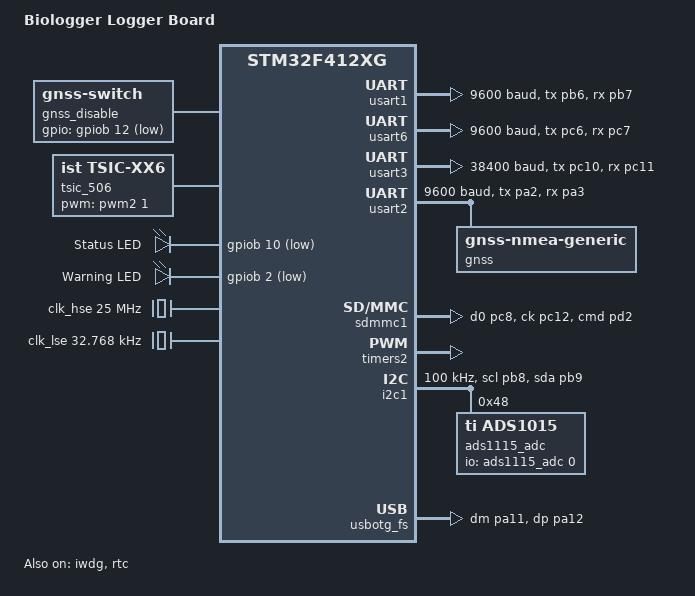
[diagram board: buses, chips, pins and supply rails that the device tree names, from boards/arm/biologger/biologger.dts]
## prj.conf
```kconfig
CONFIG_ADC=y
CONFIG_ADC_ADS1X1X=y
CONFIG_CLOCK_CONTROL=y
CONFIG_DISK_ACCESS=y
CONFIG_DISK_DRIVER_SDMMC=y
CONFIG_DYNAMIC_THREAD=y
CONFIG_FAT_FILESYSTEM_ELM=y
CONFIG_FILE_SYSTEM=y
CONFIG_FPU=y
CONFIG_FS_FATFS_LFN=y
CONFIG_GNSS=y
CONFIG_GNSS_NMEA_GENERIC=y
CONFIG_GPIO=y
CONFIG_HEAP_MEM_POOL_SIZE=65536
CONFIG_HW_STACK_PROTECTION=y
CONFIG_I2C=y
CONFIG_LOG=y
CONFIG_MAIN_STACK_SIZE=16384
CONFIG_NEWLIB_LIBC=y
CONFIG_NEWLIB_LIBC_FLOAT_PRINTF=y
CONFIG_PRINTK=y
CONFIG_PWM=y
CONFIG_PWM_CAPTURE=y
CONFIG_RTC=y
CONFIG_SDMMC_STACK=y
CONFIG_SDMMC_STM32_CLOCK_CHECK=n
CONFIG_SENSOR=y
CONFIG_SERIAL=y
CONFIG_STACK_CANARIES=y
CONFIG_SYS_HEAP_INFO=y
CONFIG_SYS_HEAP_RUNTIME_STATS=y
CONFIG_TSIC_XX6=y
CONFIG_UART_INTERRUPT_DRIVEN=y

#USB related configs
CONFIG_USB_DEVICE_STACK=y
CONFIG_USB_DEVICE_PRODUCT="Zephyr MSC sample"
CONFIG_USB_DEVICE_PID=0x0008
CONFIG_USB_DRIVER_LOG_LEVEL_ERR=y
CONFIG_USB_MASS_STORAGE=y
CONFIG_USB_DEVICE_LOG_LEVEL_ERR=y
CONFIG_USB_MASS_STORAGE_LOG_LEVEL_ERR=y
CONFIG_USB_DEVICE_INITIALIZE_AT_BOOT=n
CONFIG_USBD_MSC_CLASS=y
CONFIG_USBD_MSC_LUNS_PER_INSTANCE=3
CONFIG_MASS_STORAGE_DISK_NAME="SD"

# Modules
CONFIG_XIMPEDANCE_AMP=y

# Debugging Flags
CONFIG_DEBUG=y
CONFIG_FILE_SYSTEM_SHELL=y
CONFIG_RTC_SHELL=y
CONFIG_SHELL=y
CONFIG_THREAD_ANALYZER=y
```

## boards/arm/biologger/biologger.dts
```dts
/*
 * Copyright (c) 2024 Marko Vejnovic
 *
 * SPDX-License-Identifier: Apache-2.0
 */

/dts-v1/;
#include <st/f4/stm32f412Xg.dtsi>
#include <st/f4/stm32f412r(e-g)tx-pinctrl.dtsi>

/ {
    model = "Biologger Logger Board";
    compatible = "markovejnovic,biologger";

	chosen {
		zephyr,console = &usart3;
		zephyr,shell-uart = &usart3;
		zephyr,sram = &sram0;
		zephyr,flash = &flash0;
	};

    gnss_disable: gnss_disable {
        compatible = "gnss-switch";
        gpios = <&gpiob 12 GPIO_ACTIVE_LOW>;
        status = "okay";
    };

    tsic_506: tsic_506 {
        status = "okay";
        compatible = "ist,tsic-xx6";
        pwms = <&pwm2 1 PWM_USEC(5) PWM_POLARITY_NORMAL>;
        data-bits = <11>;
        lower-temperature-limit = <(-10)>;
        higher-temperature-limit = <60>;
    };

    leds: leds {
        compatible = "gpio-leds";

        status_led: led_0 {
            gpios = <&gpiob 10 GPIO_ACTIVE_LOW>;
            label = "Status LED";
            status = "okay";
        };

        warning_led: led_1 {
            gpios = <&gpiob 2 GPIO_ACTIVE_LOW>;
            label = "Warning LED";
            status = "okay";
        };
    };

    ximpedance_amp: ximpedance_amp {
        compatible = "ximpedance_amp";
        status = "okay";
        adc = <&ads1115_adc>;
    };

    aliases {
        board-usart-1 = &usart1;
        board-usart-2 = &usart6;
        board-usart-3 = &usart3;
        trutime-clock = &rtc;
    };
};

&clk_hse {
	/delete-property/ hse-bypass;
	clock-frequency = <DT_FREQ_M(25)>; // External 25MHz clock.
	status = "okay";
};

&clk_lse {
    /delete-property/ lse-bypass;
    clock-frequency = <32768>; // External 32.768kHz clock.
    status = "okay";
};

&pll {
	div-m = <25>;
	mul-n = <384>;
    // TODO(markovejnovic): This could, in theory be bumped up to 4 to help
    // boost the APB2 clock domain, but causes the SDMMC clock to be unusable.
    // That cock should be moved to the PLL48CLK domain.
	div-p = <8>;
	div-q = <8>;
	clocks = <&clk_hse>;
	status = "okay";
};

&rcc {
	clocks = <&clk_hse>;
    // Under no circumustance can you change SYSCLK to be anything greater than
    // 25MHz. As it stands, the SDIO lines are very poorly designed and cannot
    // withstand this high frequency. Even 25MHz is too much and I don't know
    // how to fix it.
	clock-frequency = <DT_FREQ_M(25)>;
	ahb-prescaler = <1>;
	apb1-prescaler = <2>;
    // Note that the APB2 clock domain should NOT be very high. The board
    // layout is not good enough to support 50MHz on the SDIO lines.
	apb2-prescaler = <8>;
};

&iwdg {
    status = "okay";
};

&usart1 {
	pinctrl-0 = <&usart1_tx_pb6 &usart1_rx_pb7>;
	pinctrl-names = "default";
	current-speed = <9600>;
	status = "okay";
};

&usart6 {
	pinctrl-0 = <&usart6_tx_pc6 &usart6_rx_pc7>;
	pinctrl-names = "default";
	current-speed = <9600>;
	status = "okay";
};

&usart3 {
	pinctrl-0 = <&usart3_tx_pc10 &usart3_rx_pc11>;
	pinctrl-names = "default";
	current-speed = <38400>;
	status = "okay";
};

&usart2 {
	pinctrl-0 = <&usart2_tx_pa2 &usart2_rx_pa3>;
	pinctrl-names = "default";
	current-speed = <9600>;
	status = "okay";

    gnss: gnss-nmea-generic {
        compatible = "gnss-nmea-generic";
    };
};

&sdmmc1 {
    pinctrl-0 = <&sdio_d0_pc8 &sdio_ck_pc12 &sdio_cmd_pd2>;
    pinctrl-names = "default";
    disk-name = "SD";
    clk-div = <8>;
    status = "okay";
};

&rtc {
	clocks = <&rcc STM32_CLOCK_BUS_APB1 0x10000000>,
		 <&rcc STM32_SRC_LSE RTC_SEL(1)>;
	status = "okay";
};

&timers2 {
	status = "okay";

	pwm2: pwm {
		status = "okay";
		pinctrl-0 = <&tim2_ch1_pa0>;
		pinctrl-names = "default";
	};
};

&i2c1 {
	pinctrl-0 = <&i2c1_scl_pb8 &i2c1_sda_pb9>;
	pinctrl-names = "default";
	status = "okay";
	clock-frequency = <I2C_BITRATE_STANDARD>;

    ads1115_adc: ads1115_adc@48 {
        status = "okay";
        compatible = "ti,ads1015";
		reg = <0x48>;
		#io-channel-cells = <1>;
		#address-cells = <1>;
		#size-cells = <0>;

        io-channels = <&ads1115_adc 0>;
        io-channel-names = "A0";

		channel@0 {
			reg = <0>;
			zephyr,gain = "ADC_GAIN_1";
			zephyr,reference = "ADC_REF_INTERNAL";
			zephyr,acquisition-time = <ADC_ACQ_TIME_DEFAULT>;
            zephyr,resolution = <11>;
		};
    };
};

zephyr_udc0: &usbotg_fs {
	pinctrl-0 = <&usb_otg_fs_dm_pa11 &usb_otg_fs_dp_pa12>;
	pinctrl-names = "default";
	status = "okay";
};
```

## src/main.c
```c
/*
 * Copyright (c) 2024 Marko Vejnovic
 *
 * SPDX-License-Identifier: Apache-2.0
 *
 * @detail
 * Hello! This module is the main entrypoint of the biologger firmware. It is
 * in this file that you should most likely attempt to perform your work. If
 * you are only attempting to add new columns/rows, please have a look at
 * declare_columns and collect_data_10hz.
 */
#include <sys/_timespec.h>
#include <zephyr/kernel.h>
#include <zephyr/logging/log.h>
#include <zephyr/logging/log_ctrl.h>
#include <zephyr/drivers/uart.h>
#include <zephyr/shell/shell.h>
#include "experiment.h"
#include "observer.h"
#include <zephyr/device.h>
#include "trutime.h"
#include "storage.h"
#include <zephyr/drivers/sensor.h>
#include <zephyr/drivers/adc.h>
#include "sensor/ximpedance_amp/ximpedance_amp.h"
#include <zephyr/sys/printk.h>
#include <zephyr/sys/util.h>
#include <zephyr/drivers/sensor.h>

#define SAMPLING_PERIOD_MS 100

LOG_MODULE_REGISTER(main);

OBSERVER_DECL(main_observer);
TRUTIME_DECL(time_provider);

/******************************************************************************
 * Devices Used On The Board
 *****************************************************************************/
static const struct device* ximpedance_amp =
    DEVICE_DT_GET(DT_NODELABEL(ximpedance_amp));

/******************************************************************************
 * Static Variables Used In This Module
 *****************************************************************************/
static size_t collection_counter = 0;

/**
 * @brief Initialize drivers required for the operation of the application.
 */
static int init_drivers() {
    int err = 0; // 0 means no error :)

    if (!device_is_ready(ximpedance_amp)) {
        LOG_ERR("Failed to initialize the transimpedance driver.");
        err = -ENODEV;
    }

    return err;
}

/**
 * @brief Define all the columns that are collected.
 *
 * This function must only contain calls to experiment_add_column.
 */
static void declare_columns(struct experiment* e) {
    //                           Column Name              Units
    experiment_add_column(e,     "Current 22KX 1",        "mA");
    experiment_add_column(e,     "Current 22KX 2",        "mA");
    experiment_add_column(e,     "Current 10KX 1",        "mA");
    experiment_add_column(e,     "Current 10KX 2",        "mA");
}

/**
 * @brief Perform all data collection.
 *
 * This function must only contain calls to experiment_row_add_value.
 *
 * @warning There must be as many calls to experiment_row_add_value as there
 *          are to experiment_add_column in declare_columns.
 */
static int collect_data_10hz(struct experiment_row* r) {
    int err = 0; // 0 means no error :)
    
    if ((err = sensor_sample_fetch(ximpedance_amp)) != 0) {
        LOG_ERR("Failed to sample the results from the transimpedance "
                "amplifier (%d).", err);
    }

    static const enum ximpedance_amp_sensor_channel
    ximpedance_amp_channels[] = {
        XIMPEDANCE_CHAN_22KX_MILLIAMPS_1,
        XIMPEDANCE_CHAN_22KX_MILLIAMPS_2,
        XIMPEDANCE_CHAN_10KX_MILLIAMPS_1,
        XIMPEDANCE_CHAN_10KX_MILLIAMPS_2,
    };
    for (size_t i = 0; i < ARRAY_SIZE(ximpedance_amp_channels); i++) {
        struct sensor_value val;
        if ((err = sensor_channel_get(ximpedance_amp,
                                      (int)ximpedance_amp_channels[i],
                                      &val)) != 0) {
            LOG_ERR("Failed to fetch the sensor channel %d value (%d).",
                    ximpedance_amp_channels[i], err);
            err = MIN(err, 0);
        }

        const double value_milliamps = sensor_value_to_double(&val);

        experiment_row_add_value(r, value_milliamps);
    }

    // Printout every 10th row.
    if (collection_counter == 0) {
        const struct strv printout = experiment_row_format(r);
        printk("%s\n", printout.str);
        k_free(printout.str);
    }
    collection_counter = (collection_counter + 1) % 10;

    return err;
}

int main(void) {
    int err;

    // Initialize the logging module which is invaluable when debugging.
    LOG_INIT();
    LOG_INF("");
    LOG_INF("");
    LOG_INF("Biologger 13b");
    LOG_INF("");
    LOG_INF("");
    LOG_INF("");
    LOG_INF("Initializing modules...");

    // Initialize the observer which will oversee all the operations and blink
    // the LED.
    observer_t observer = OBSERVER_INIT(main_observer);

    // Initialize the storage module which is responsible for storing
    // experiment data.
    storage_t storage = storage_init(observer);
    if (storage == NULL) {
        LOG_ERR("Could not initialize storage.");
        return -ENOMEM;
    }

    // Initialize the trutime module which provides with accurate time data.
    trutime_t time_provider = TRUTIME_INIT(time_provider, observer);

    // Initialize the hardware drivers.
    if ((err = init_drivers()) != 0) {
        LOG_ERR("Failed to initialize a driver (%d).", err);
        observer_flag_raise(observer, OBSERVER_FLAG_DRIVER_MIA);
    }

    // Wait until trutime is available. Sometimes this takes quite some time.
    do {
        LOG_INF("Waiting for trutime support.");
        k_msleep(1000);
    } while (!trutime_is_available(time_provider));
    k_msleep(1000); // TODO(markovejnovic): trutime_is_available leaks before
                    // it is actually available.

    // Initialize the experiment 
    struct experiment* experiment = experiment_init(storage, time_provider);
    if (experiment == NULL) { 
        LOG_ERR("Failed to initialize the experiment");
        return -1;
    }

    // Populate the experiment with all the required columns.
    declare_columns(experiment);

    while (1) {
        const uint64_t start = k_uptime_get();

        // We are creating a new time sample -- create a new row.
        struct experiment_row* row = experiment_row_new(
            trutime_millis_since(
                time_provider,
                experiment_start_time(experiment)
            )
        );
        if (row == NULL) {
            LOG_ERR("Failed to allocate sufficient memory for a new row.");
            continue;
        }

        // Collect the specified data into the experiment.
        (void)collect_data_10hz(row);

        // Push these values into the experiment.
        if ((err = experiment_push_row(experiment, row)) != 0) {
            LOG_ERR("Failed to push a row into the experiment (%d)", err);
        }

        const uint64_t stop = k_uptime_get();
        int64_t sleep_period;
        const bool sleep_will_underflow = __builtin_sub_overflow(
            (int64_t)stop,
            (int64_t)start,
            &sleep_period
        );
        if (sleep_will_underflow) {
            LOG_ERR("Critically slow application causing sampling lag.");
        } else {
            k_msleep(SAMPLING_PERIOD_MS - (sleep_period));
        }
    }
}
```

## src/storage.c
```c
// TODO(markovejnovic): Ton of duplication in this file.
#include "observer.h"
#include "storage.h"
#include "str.h"
#include "thread_specs.h"
#include "zephyr/fs/fs_interface.h"
#include <ff.h>
#include <stdint.h>
#include <sys/errno.h>
#include <time.h>
#include <zephyr/drivers/disk.h>
#include <zephyr/fs/fs.h>
#include <zephyr/kernel.h>
#include <zephyr/kernel/thread.h>
#include <zephyr/kernel/thread_stack.h>
#include <zephyr/logging/log.h>
#include <zephyr/storage/disk_access.h>
#include <zephyr/sys/slist.h>
#include <zephyr/usb/class/usbd_msc.h>
#include <zephyr/usb/usb_device.h>
#include <zephyr/usb/usbd.h>

#define CONFIG_MAX_ROWS_BEFORE_SYNC 20

#define MAX_PATH 256
#define DISK_NAME "SD"
#define DISK_MOUNT_POINT "/"DISK_NAME":"
#define MIN_DISK_SIZE_MB 1024
#define SECTOR_MAX 2048

LOG_MODULE_REGISTER(storage);

struct usbd_contex* usb_device;
USBD_DEFINE_MSC_LUN(SD, "Zephyr", DISK_NAME, "0.00", "0.00");

struct storage {
    size_t open_objects;
    const char* disk_name;
    struct fs_mount_t mount_point;

    FATFS fat_fs;

    observer_t observer;

    struct {
        uint32_t sz;
        uint32_t count;

        uint64_t disk_sz_mb;
    } block;

    struct {
        struct k_condvar recv;
        struct k_mutex lock;
        bool available;
    } availability;

    struct {
        char path[MAX_PATH];
        struct fs_file_t on_disk;
        size_t writes_since_sync;
    } work_file;
};

struct experiment {
    storage_t storage;
};

enum block_device_status {
    BLOCK_DEVICE_STATUS_APPEARS_SENSIBLE,
    BLOCK_DEVICE_STATUS_NO_OR_BAD_DISK,
    BLOCK_DEVICE_STATUS_NO_SPACE_ON_DISK,
    BLOCK_DEVICE_STATUS_NO_OR_CORRUPT_FAT,
    BLOCK_DEVICE_STATUS_NO_SPACE_ON_FAT,
};

static bool sdcard_got_dced(storage_t storage) {
    // As discussed in storage_init, we choose to blindly assume the card is
    // reachable if the sector size is currently unknown. This is safe to do
    // out of two reasons -- other fallbacks MUST cover the case of no card
    // being in in the first place.
    if (storage->block.sz == UINT32_MAX) {
        return false;
    }

    uint8_t* data = k_malloc(storage->block.sz);
    if (data == NULL) {
        return false;
    }
    bool res = disk_access_read(DISK_NAME, data, 2048, 1) != 0;
    k_free(data);
    return res;
}

static int storage_get_status(storage_t storage,
                              enum block_device_status* status,
                              uint64_t* extra_status) {
    *status = -1;

    if (storage == NULL) {
        return -EINVAL;
    }

    int errnum;

    if ((errnum = disk_access_status(DISK_NAME)) != DISK_STATUS_OK
        || sdcard_got_dced(storage)) {
        LOG_ERR("Querying the status of %s failed. Error: %d",
                DISK_NAME, errnum);
        *status = BLOCK_DEVICE_STATUS_NO_OR_BAD_DISK;
        return -ENOTBLK; // Cannot trust DISK_STATUS_OK to be zero.
    }

    if ((errnum = disk_access_ioctl(DISK_NAME, DISK_IOCTL_GET_SECTOR_COUNT,
                                   &storage->block.count))) {
        LOG_ERR("Could not figure out how many blocks are in the device. "
                "Error: %d", errnum);
        return errnum;
    }
    LOG_DBG("There are %d blocks on this device", storage->block.count);

    if ((errnum = disk_access_ioctl(DISK_NAME, DISK_IOCTL_GET_SECTOR_SIZE,
                                   &storage->block.sz))) {
        LOG_ERR("Could not figure out the size of the block on this device. "
                "Error: %d", errnum);
        return errnum;
    }

    storage->block.disk_sz_mb =
        (uint64_t)storage->block.sz * (uint64_t)storage->block.count
        / 1024ull / 1024ull;
    LOG_DBG("The disk size is: %llu MB", storage->block.disk_sz_mb);

    if (storage->block.disk_sz_mb < MIN_DISK_SIZE_MB) {
        LOG_ERR("The disk is %llu MB which is less than the min %d MB.",
                storage->block.disk_sz_mb, MIN_DISK_SIZE_MB);
        *status = BLOCK_DEVICE_STATUS_NO_SPACE_ON_DISK;
        *extra_status = storage->block.disk_sz_mb;
        return -ENOMEM;
    }

    struct fs_statvfs filesystem_stats;
    if ((errnum = fs_statvfs(storage->mount_point.mnt_point,
                            &filesystem_stats)) != FR_OK) {
        LOG_ERR("Could not query information on %s.",
                storage->mount_point.mnt_point);
        *status = BLOCK_DEVICE_STATUS_NO_OR_CORRUPT_FAT;
        return errnum;
    }

    const uint64_t space_left_mb =
        (uint64_t)filesystem_stats.f_bfree * (uint64_t)filesystem_stats.f_frsize
        / 1024ull / 1024ull;
    if (space_left_mb < MIN_DISK_SIZE_MB) {
        LOG_ERR("The FAT parition has GB %llu free. Less than the min %d GB.",
                space_left_mb, MIN_DISK_SIZE_MB);
        *status = BLOCK_DEVICE_STATUS_NO_SPACE_ON_FAT;
        return -ENOMEM;
    }

    *status = BLOCK_DEVICE_STATUS_APPEARS_SENSIBLE;
    return 0;
}

static int setup(storage_t storage) {
    int err;
    if ((err = disk_access_status(DISK_NAME)) != DISK_STATUS_OK
        || sdcard_got_dced(storage)) {
        LOG_ERR("Querying the status of %s failed. Error: %d",
                DISK_NAME, err);
        return -ENOTBLK; // Cannot trust DISK_STATUS_OK to be zero.
    }

    if ((err = disk_access_ioctl(DISK_NAME, DISK_IOCTL_GET_SECTOR_COUNT,
                                   &storage->block.count))) {
        LOG_ERR("Could not figure out how many blocks are in the device. "
                "Error: %d", err);
        return err;
    }
    LOG_DBG("There are %d blocks on this device", storage->block.count);

    if ((err = disk_access_ioctl(DISK_NAME, DISK_IOCTL_GET_SECTOR_SIZE,
                                   &storage->block.sz))) {
        LOG_ERR("Could not figure out the size of the block on this device. "
                "Error: %d", err);
        return err;
    }

    storage->block.disk_sz_mb =
        (uint64_t)storage->block.sz * (uint64_t)storage->block.count
        / 1024ull / 1024ull;
    LOG_DBG("The disk size is: %llu MB", storage->block.disk_sz_mb);

    if (storage->block.disk_sz_mb < MIN_DISK_SIZE_MB) {
        LOG_ERR("The disk is %llu MB which is less than the min %d MB.",
                storage->block.disk_sz_mb, MIN_DISK_SIZE_MB);
        return -ENOMEM;
    }
    // In this case we can also try our best to remount the FAT device in hopes
    // it will come up. The block device exists for sure, so we can give this a
    // shot. Let's not flag this as a fault just yet...
    if ((err = fs_mount(&storage->mount_point)) != FR_OK) {
        LOG_ERR("Could not mount the disk %s at %s. Error: %d",
                storage->disk_name,
                storage->mount_point.mnt_point, err);
        // Well we tried and failed, that doesn't look good --
        // mark it as gonezo.
        observer_flag_raise(storage->observer,
                            OBSERVER_FLAG_NO_DISK);
    } else {
        // We mounted the disk! In order to avoid waiting for
        // the next cycle, let's immediately re-run this
        // procedure.
        LOG_INF("Successfully mounted an SD card.");
    }

    return err;
}

int storage_close(storage_t storage) {
    if (storage == NULL) {
        return 0;
    }

    int err = 0;

    if ((err = storage_close_file(storage)) != 0) {
        LOG_ERR("Could not close the open file (%d).", err);
    }

    if (storage->open_objects != 0) {
        return -EMFILE;
    }

    k_free(storage);
    return err;
}

K_THREAD_STACK_DEFINE(management_thread_stack,
                      THREAD_BLOCK_STORAGE_MANAGEMENT_STACK_SIZE);
static struct k_thread management_thread_data;

static void management_thread_runnable(void* p0, void* p1, void* p2) {
    LOG_INF("Starting to manage storage...");

    storage_t storage = p0;

    // Preferring while-true over deadline scheduler for convenience. Totally
    // okay poor performance here.
    while (true) {
        const uint32_t start = k_uptime_get_32();

        enum block_device_status status;
        uint64_t extra_status;

        const size_t MAX_STATUS_UPDATE_COUNT = 3;
        size_t status_update_count = 0;
        query_status: {
            int errnum = storage_get_status(storage, &status, &extra_status);
            switch (status) {
                case BLOCK_DEVICE_STATUS_APPEARS_SENSIBLE:
                    LOG_DBG("It appears the disk is operating normally.");
                    observer_flag_lower(storage->observer,
                                        OBSERVER_FLAG_NO_DISK);
                    storage->availability.available = true;
                    k_condvar_broadcast(&storage->availability.recv);
                    break;
                case BLOCK_DEVICE_STATUS_NO_OR_BAD_DISK:
                    LOG_INF("It appears the disk is unavailable / corrupt.");
                    observer_flag_raise(storage->observer,
                                        OBSERVER_FLAG_NO_DISK);

                    // TODO(markovejnovic): Here would be a good spot to
                    // attempt to reinitialize the SD card, however there is no
                    // support for that at the moment.

                    break;
                case BLOCK_DEVICE_STATUS_NO_SPACE_ON_DISK:
                    LOG_INF("It appears the disk is too small.");
                    observer_flag_raise(storage->observer,
                                        OBSERVER_FLAG_NO_DISK);
                    break;
                case BLOCK_DEVICE_STATUS_NO_OR_CORRUPT_FAT:
                    LOG_INF("It appears the disk does not have a good FAT "
                            "partition.");
                    // In this case we can also try our best to remount the FAT
                    // device in hopes it will come up. The block device exists
                    // for sure, so we can give this a shot. Let's not flag
                    // this as a fault just yet...
                    if ((errnum = fs_mount(&storage->mount_point)) != FR_OK) {
                        LOG_ERR("Could not mount the disk %s at %s. Error: %d",
                                storage->disk_name,
                                storage->mount_point.mnt_point, errnum);
                        // Well we tried and failed, that doesn't look good --
                        // mark it as gonezo.
                        observer_flag_raise(storage->observer,
                                            OBSERVER_FLAG_NO_DISK);
                    } else {
                        // We mounted the disk! In order to avoid waiting for
                        // the next cycle, let's immediately re-run this
                        // procedure.
                        LOG_INF("Successfully mounted an SD card.");
                        status_update_count++;
                        if (status_update_count < MAX_STATUS_UPDATE_COUNT) {
                            goto query_status;
                        }
                    }
                    break;
                case BLOCK_DEVICE_STATUS_NO_SPACE_ON_FAT:
                    LOG_INF("It appears the FAT partition is too small.");
                    observer_flag_raise(storage->observer,
                                        OBSERVER_FLAG_NO_DISK);
                    break;
                default:
                    LOG_ERR("Received an unreasonable and unexpected value "
                            "from storage_get_status: %d", status);
                    // Not the user's fault -- let's not confuse them.
                    observer_flag_lower(storage->observer,
                                        OBSERVER_FLAG_NO_DISK);
                    break;
            }
        }

        const uint32_t stop = k_uptime_get_32();
        k_msleep(THREAD_BLOCK_STORAGE_MANAGEMENT_PERIOD_MS - (stop - start));
    }
}

storage_t storage_init(observer_t observer)
{
	int ret;

    LOG_INF("Initializing storage...");
    storage_t storage = k_malloc(sizeof(struct storage));
    if (storage == NULL) {
        LOG_ERR("Could not k_malloc for storage_init.");
        return NULL;
    }

    *storage = (struct storage){
        .open_objects = 0,
        .disk_name = DISK_NAME,
        .mount_point = (struct fs_mount_t){
            .type = FS_FATFS,
            .fs_data = &storage->fat_fs,
            .mnt_point = DISK_MOUNT_POINT,
        },
        .observer = observer,
        .block = {
            // UINT32_MAX max indicates that the block size has not been
            // initialized. In this case, we shall assume the SD card is
            // reachable as actually performing a read requires an extremely
            // expensive memory allocation, possibly up to 8K, depending on the
            // sector size.
            .sz = UINT32_MAX,
        },
        .availability = {
            .available = false,
        },
    };

    fs_file_t_init(&storage->work_file.on_disk);
    k_condvar_init(&storage->availability.recv);
    k_mutex_init(&storage->availability.lock);

    int errnum;

    if ((errnum = disk_access_init(DISK_NAME)) != 0) {
        LOG_ERR("Cannot open a handle to the SDMMC device. Error: %d", errnum);
        goto exit_fault;
    }

#if defined(CONFIG_USB_DEVICE_STACK_NEXT)
	ret = enable_usb_device_next();
#else
	ret = usb_enable(NULL);
#endif
	if (ret != 0) {
		LOG_ERR("Failed to enable USB");
		return 0;
	}

    setup(storage);

    // This module shall start a management thread that will manage the
    // storage. We do not need this to be extremely zealous, just need to know
    // some basics on the device.
    LOG_DBG("Beginning SD card management thread...");
    k_thread_create(
        &management_thread_data,
        management_thread_stack,
        K_THREAD_STACK_SIZEOF(management_thread_stack),
        management_thread_runnable, storage, NULL, NULL,
        THREAD_BLOCK_STORAGE_MANAGEMENT_PRIORITY, 0, K_NO_WAIT
    );

    return storage;

exit_fault:
    k_free(storage);
    return NULL;
}

int storage_transaction(storage_t storage, const struct tm *start_time) {
    int err;

    strftime(storage->work_file.path, MAX_PATH,
             DISK_MOUNT_POINT "/%Y-%m-%dT%H.%m.%S.csv", start_time);

    if ((err = fs_open(&storage->work_file.on_disk, storage->work_file.path,
                       FS_O_CREATE | FS_O_WRITE | FS_O_APPEND)) != 0) {
        LOG_ERR("Failed to create a new file %s (%d).",
                storage->work_file.path, err);
    }
    storage_flush(storage);

    return err;
}

int storage_write_row(storage_t storage, const struct strv row) {
    int err = 0;

    if ((err = fs_write(&storage->work_file.on_disk, row.str, row.len)) < 0) {
        LOG_ERR("Failed to write row to the disk (%d).", err);
        return err;
    }

    if ((err = fs_write(&storage->work_file.on_disk, "\n", 1)) < 0) {
        LOG_ERR("Failed to write row newline to the disk (%d).", err);
        return err;
    }

    if (++storage->work_file.writes_since_sync > CONFIG_MAX_ROWS_BEFORE_SYNC) {
        if ((err = storage_flush(storage)) != 0) {
            LOG_ERR("Failed to flush data to disk (%d).", err);
        }
    }

    return 0;
}

int storage_close_file(storage_t storage) {
    int err;
    if ((err = storage_flush(storage)) != 0) {
        LOG_ERR("Failed to flush storage before closing. (%d)", err);
    }
    return fs_close(&storage->work_file.on_disk);
}

void storage_wait_until_available(storage_t storage) {
    if (storage->availability.available) {
        return;
    }

    k_condvar_wait(&storage->availability.recv,
                   &storage->availability.lock,
                   K_FOREVER);
}

int storage_flush(storage_t storage) {
    int err = 0;
    if ((err = fs_sync(&storage->work_file.on_disk)) != 0) {
        LOG_ERR("Failed to synchronize the filesystem. (%d)", err);
        return err;
    }

    if ((err = disk_access_ioctl(DISK_NAME, DISK_IOCTL_CTRL_SYNC, NULL)) != 0) {
        LOG_ERR("Failed to synchronize the disk. (%d)", err);
        return err;
    }

    storage->work_file.writes_since_sync = 0;

    return err;
}
```
